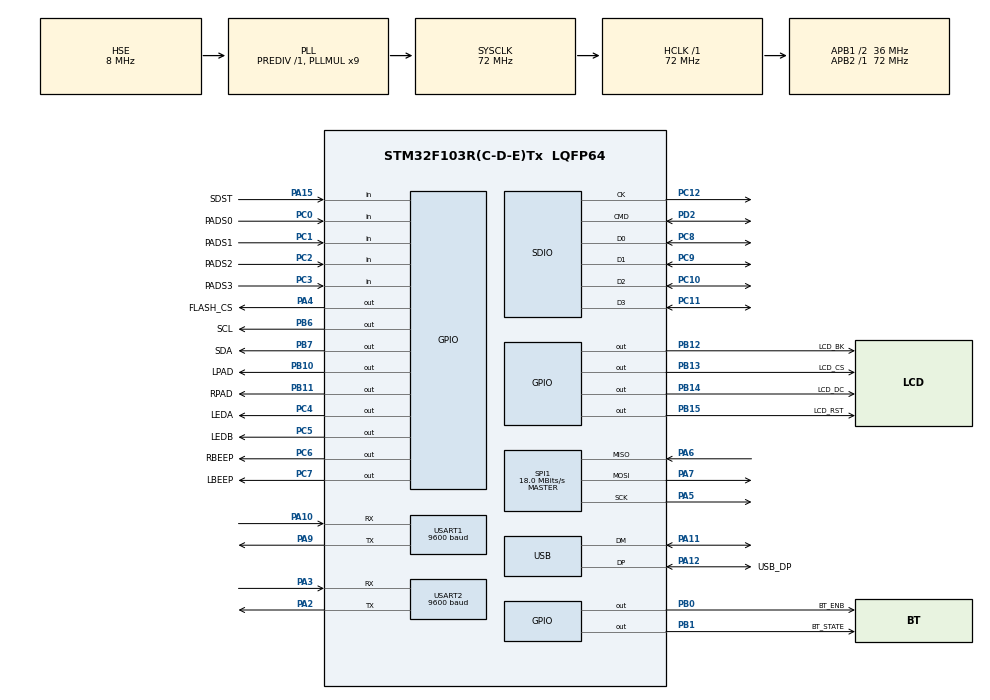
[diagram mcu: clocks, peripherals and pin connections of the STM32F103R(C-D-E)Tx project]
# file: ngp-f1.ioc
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Dma.Request0=SPI1_TX
Dma.Request1=SPI1_RX
Dma.SPI1_RX.1.Direction=DMA_PERIPH_TO_MEMORY
Dma.SPI1_RX.1.Instance=DMA1_Channel2
Dma.SPI1_RX.1.MemDataAlignment=DMA_MDATAALIGN_BYTE
Dma.SPI1_RX.1.MemInc=DMA_MINC_ENABLE
Dma.SPI1_RX.1.Mode=DMA_NORMAL
Dma.SPI1_RX.1.PeriphDataAlignment=DMA_PDATAALIGN_BYTE
Dma.SPI1_RX.1.PeriphInc=DMA_PINC_DISABLE
Dma.SPI1_RX.1.Priority=DMA_PRIORITY_LOW
Dma.SPI1_TX.0.Direction=DMA_MEMORY_TO_PERIPH
Dma.SPI1_TX.0.Instance=DMA1_Channel3
Dma.SPI1_TX.0.MemDataAlignment=DMA_MDATAALIGN_BYTE
Dma.SPI1_TX.0.MemInc=DMA_MINC_ENABLE
Dma.SPI1_TX.0.Mode=DMA_NORMAL
Dma.SPI1_TX.0.PeriphDataAlignment=DMA_PDATAALIGN_BYTE
Dma.SPI1_TX.0.PeriphInc=DMA_PINC_DISABLE
Dma.SPI1_TX.0.Priority=DMA_PRIORITY_LOW
FATFS.BSP.number=1
FATFS0.BSP.STBoard=false
FATFS0.BSP.api=UnknownBspDriver
FATFS0.BSP.i2caddr=0
FATFS0.BSP.i2creg=0
FATFS0.BSP.instance=PA15
FATFS0.BSP.ip=GPIO
FATFS0.BSP.mode=Input
FATFS0.BSP.name=Detect_SDIO
FATFS0.BSP.solution=PA15
Mcu.Family=STM32F1
Mcu.Name=STM32F103R(C-D-E)Tx
Mcu.Package=LQFP64
NVIC.DMA1_Channel2_IRQn=true\:0\:0\:false\:false\:true\:true
NVIC.DMA1_Channel3_IRQn=true\:0\:0\:false\:false\:true\:true
NVIC.PriorityGroup=NVIC_PRIORITYGROUP_4
NVIC.TIM6_IRQn=true\:0\:0\:false\:false\:true\:true
NVIC.TIM7_IRQn=true\:0\:0\:false\:false\:true\:true
NVIC.TIM8_UP_IRQn=true\:0\:0\:false\:false\:true\:true
NVIC.TimeBase=TIM8_UP_IRQn
NVIC.TimeBaseIP=TIM8
NVIC.USB_LP_CAN1_RX0_IRQn=true\:0\:0\:false\:false\:true\:true
PA10.Mode=Asynchronous
PA10.Signal=USART1_RX
PA11.Mode=Device
PA11.Signal=USB_DM
PA12.GPIO_Label=USB_DP
PA12.Mode=Device
PA12.Signal=USB_DP
PA13.Mode=Serial_Wire
PA13.Signal=SYS_JTMS-SWDIO
PA14.Mode=Serial_Wire
PA14.Signal=SYS_JTCK-SWCLK
PA15.GPIO_Label=SDST
PA15.GPIO_PuPd=GPIO_PULLUP
PA15.Signal=GPIO_Input
PA2.Mode=Asynchronous
PA2.Signal=USART2_TX
PA3.Mode=Asynchronous
PA3.Signal=USART2_RX
PA4.GPIO_Label=FLASH_CS
PA4.GPIO_Speed=GPIO_SPEED_FREQ_HIGH
PA4.PinState=GPIO_PIN_SET
PA4.Signal=GPIO_Output
PA5.Mode=Full_Duplex_Master
PA5.Signal=SPI1_SCK
PA6.GPIO_PuPd=GPIO_PULLDOWN
PA6.Mode=Full_Duplex_Master
PA6.Signal=SPI1_MISO
PA7.Mode=Full_Duplex_Master
PA7.Signal=SPI1_MOSI
PA9.Mode=Asynchronous
PA9.Signal=USART1_TX
PB0.GPIO_Label=BT_ENB
PB0.Signal=GPIO_Output
PB1.GPIO_Label=BT_STATE
PB1.Signal=GPIO_Output
PB10.GPIO_Label=LPAD
PB10.Signal=GPIO_Output
PB11.GPIO_Label=RPAD
PB11.Signal=GPIO_Output
PB12.GPIO_Label=LCD_BK
PB12.Signal=GPIO_Output
PB13.GPIO_Label=LCD_CS
PB13.GPIO_Speed=GPIO_SPEED_FREQ_HIGH
PB13.PinState=GPIO_PIN_SET
PB13.Signal=GPIO_Output
PB14.GPIO_Label=LCD_DC
PB14.GPIO_Speed=GPIO_SPEED_FREQ_HIGH
PB14.Signal=GPIO_Output
PB15.GPIO_Label=LCD_RST
PB15.GPIO_Speed=GPIO_SPEED_FREQ_HIGH
PB15.Signal=GPIO_Output
PB6.GPIO_Label=SCL
PB6.GPIO_Speed=GPIO_SPEED_FREQ_HIGH
PB6.Signal=GPIO_Output
PB7.GPIO_Label=SDA
PB7.GPIO_ModeDefaultOutputPP=GPIO_MODE_OUTPUT_OD
PB7.GPIO_Speed=GPIO_SPEED_FREQ_HIGH
PB7.Signal=GPIO_Output
PC0.GPIO_Label=PADS0
PC0.GPIO_PuPd=GPIO_PULLUP
PC0.Signal=GPIO_Input
PC1.GPIO_Label=PADS1
PC1.GPIO_PuPd=GPIO_PULLUP
PC1.Signal=GPIO_Input
PC10.Mode=SD_4_bits_Wide_bus
PC10.Signal=SDIO_D2
PC11.Mode=SD_4_bits_Wide_bus
PC11.Signal=SDIO_D3
PC12.Mode=SD_4_bits_Wide_bus
PC12.Signal=SDIO_CK
PC14-OSC32_IN.Mode=LSE-External-Oscillator
PC14-OSC32_IN.Signal=RCC_OSC32_IN
PC15-OSC32_OUT.Mode=LSE-External-Oscillator
PC15-OSC32_OUT.Signal=RCC_OSC32_OUT
PC2.GPIO_Label=PADS2
PC2.GPIO_PuPd=GPIO_PULLUP
PC2.Signal=GPIO_Input
PC3.GPIO_Label=PADS3
PC3.GPIO_PuPd=GPIO_PULLUP
PC3.Signal=GPIO_Input
PC4.GPIO_Label=LEDA
PC4.GPIO_Speed=GPIO_SPEED_FREQ_HIGH
PC4.Signal=GPIO_Output
PC5.GPIO_Label=LEDB
PC5.GPIO_Speed=GPIO_SPEED_FREQ_HIGH
PC5.Signal=GPIO_Output
PC6.GPIO_Label=RBEEP
PC6.GPIO_Speed=GPIO_SPEED_FREQ_HIGH
PC6.Signal=GPIO_Output
PC7.GPIO_Label=LBEEP
PC7.GPIO_Speed=GPIO_SPEED_FREQ_HIGH
PC7.Signal=GPIO_Output
PC8.Mode=SD_4_bits_Wide_bus
PC8.Signal=SDIO_D0
PC9.Mode=SD_4_bits_Wide_bus
PC9.Signal=SDIO_D1
PD0-OSC_IN.Mode=HSE-External-Oscillator
PD0-OSC_IN.Signal=RCC_OSC_IN
PD1-OSC_OUT.Mode=HSE-External-Oscillator
PD1-OSC_OUT.Signal=RCC_OSC_OUT
PD2.Mode=SD_4_bits_Wide_bus
PD2.Signal=SDIO_CMD
ProjectManager.HeapSize=0x200
ProjectManager.StackSize=0x400
ProjectManager.TargetToolchain=SW4STM32
RCC.AHBFreq_Value=72000000
RCC.APB1CLKDivider=RCC_HCLK_DIV2
RCC.APB1Freq_Value=36000000
RCC.APB1TimFreq_Value=72000000
RCC.APB2Freq_Value=72000000
RCC.APB2TimFreq_Value=72000000
RCC.EnbaleCSS=true
RCC.HCLKFreq_Value=72000000
RCC.PLLMUL=RCC_PLL_MUL9
RCC.PLLSourceVirtual=RCC_PLLSOURCE_HSE
RCC.SYSCLKFreq_VALUE=72000000
RCC.SYSCLKSource=RCC_SYSCLKSOURCE_PLLCLK
RCC.USBFreq_Value=48000000
RCC.USBPrescaler=RCC_USBCLKSOURCE_PLL_DIV1_5
SDIO.ClockDiv=3
SDIO.WideMode=SDIO_BUS_WIDE_4B
SPI1.BaudRatePrescaler=SPI_BAUDRATEPRESCALER_4
SPI1.CLKPolarity=SPI_POLARITY_HIGH
SPI1.CalculateBaudRate=18.0 MBits/s
SPI1.Direction=SPI_DIRECTION_2LINES
SPI1.Mode=SPI_MODE_MASTER
SPI1.VirtualType=VM_MASTER
TIM6.Period=359
TIM6.Prescaler=2
TIM7.Period=35
TIM7.Prescaler=2
USART1.BaudRate=9600
USART1.VirtualMode=VM_ASYNC
USART2.BaudRate=9600
USART2.VirtualMode=VM_ASYNC
USB.low_power_enable=DISABLE
USB.lpm_enable=DISABLE
USB_DEVICE.CLASS_NAME_FS=MSC
USB_DEVICE.CONFIGURATION_STRING_MSC_FS=NGP Config
USB_DEVICE.INTERFACE_STRING_MSC_FS=NGP Interface
USB_DEVICE.MANUFACTURER_STRING=NSDN
USB_DEVICE.PRODUCT_STRING_MSC_FS=NyaGame Portable 32-bit
USB_DEVICE.SERIALNUMBER_STRING_MSC_FS=000000000032
USB_DEVICE.USBD_HandleTypeDef=hUsbDeviceFS
USB_DEVICE.USBD_SELF_POWERED=0
USB_DEVICE.USBD_SUPPORT_USER_STRING=0
USB_DEVICE.VirtualMode=Msc
USB_DEVICE.VirtualModeFS=Msc_FS
VP_FATFS_VS_SDIO.Mode=SDIO
VP_SYS_VS_tim8.Mode=TIM8
VP_TIM6_VS_ClockSourceINT.Mode=Enable_Timer
VP_TIM7_VS_ClockSourceINT.Mode=Enable_Timer
VP_USB_DEVICE_VS_USB_DEVICE_MSC_FS.Mode=MSC_FS
board=ngp-f1

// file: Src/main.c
/**
  ******************************************************************************
  * @file           : main.c
  * @brief          : Main program body
  ******************************************************************************
  * This notice applies to any and all portions of this file
  * that are not between comment pairs USER CODE BEGIN and
  * USER CODE END. Other portions of this file, whether
  * inserted by the user or by software development tools
  * are owned by their respective copyright owners.
  *
  * Copyright (c) 2018 STMicroelectronics International N.V.
  * All rights reserved.
  *
  * Redistribution and use in source and binary forms, with or without
  * modification, are permitted, provided that the following conditions are met:
  *
  * 1. Redistribution of source code must retain the above copyright notice,
  *    this list of conditions and the following disclaimer.
  * 2. Redistributions in binary form must reproduce the above copyright notice,
  *    this list of conditions and the following disclaimer in the documentation
  *    and/or other materials provided with the distribution.
  * 3. Neither the name of STMicroelectronics nor the names of other
  *    contributors to this software may be used to endorse or promote products
  *    derived from this software without specific written permission.
  * 4. This software, including modifications and/or derivative works of this
  *    software, must execute solely and exclusively on microcontroller or
  *    microprocessor devices manufactured by or for STMicroelectronics.
  * 5. Redistribution and use of this software other than as permitted under
  *    this license is void and will automatically terminate your rights under
  *    this license.
  *
  * THIS SOFTWARE IS PROVIDED BY STMICROELECTRONICS AND CONTRIBUTORS "AS IS"
  * AND ANY EXPRESS, IMPLIED OR STATUTORY WARRANTIES, INCLUDING, BUT NOT
  * LIMITED TO, THE IMPLIED WARRANTIES OF MERCHANTABILITY, FITNESS FOR A
  * PARTICULAR PURPOSE AND NON-INFRINGEMENT OF THIRD PARTY INTELLECTUAL PROPERTY
  * RIGHTS ARE DISCLAIMED TO THE FULLEST EXTENT PERMITTED BY LAW. IN NO EVENT
  * SHALL STMICROELECTRONICS OR CONTRIBUTORS BE LIABLE FOR ANY DIRECT, INDIRECT,
  * INCIDENTAL, SPECIAL, EXEMPLARY, OR CONSEQUENTIAL DAMAGES (INCLUDING, BUT NOT
  * LIMITED TO, PROCUREMENT OF SUBSTITUTE GOODS OR SERVICES; LOSS OF USE, DATA,
  * OR PROFITS; OR BUSINESS INTERRUPTION) HOWEVER CAUSED AND ON ANY THEORY OF
  * LIABILITY, WHETHER IN CONTRACT, STRICT LIABILITY, OR TORT (INCLUDING
  * NEGLIGENCE OR OTHERWISE) ARISING IN ANY WAY OUT OF THE USE OF THIS SOFTWARE,
  * EVEN IF ADVISED OF THE POSSIBILITY OF SUCH DAMAGE.
  *
  ******************************************************************************
  */
#include "main.h"
#include "stm32f1xx_hal.h"
#include "fatfs.h"
#include "usb_device.h"

/* USER CODE BEGIN Includes */
#include "OLED.h"
#include "LCD.h"
#include "Keypad.h"
#include "Beeper.h"
#include "Flash.h"
/* USER CODE END Includes */

SD_HandleTypeDef hsd;

SPI_HandleTypeDef hspi1;
DMA_HandleTypeDef hdma_spi1_tx;
DMA_HandleTypeDef hdma_spi1_rx;

TIM_HandleTypeDef htim6;
TIM_HandleTypeDef htim7;

UART_HandleTypeDef huart1;
UART_HandleTypeDef huart2;

/* USER CODE BEGIN PV */
	/* Private variables ---------------------------------------------------------*/
	LCD* lcd;
	Flash* flash;
	static uint8_t sdOK = 0;
	static uint8_t menuIndex = 0;
	HAL_SD_CardInfoTypeDef SDCardInfo;
/* USER CODE END PV */

void SystemClock_Config(void);
static void MX_GPIO_Init(void);
static void MX_DMA_Init(void);
static void MX_SDIO_SD_Init(void);
static void MX_USART2_UART_Init(void);
static void MX_SPI1_Init(void);
static void MX_USART1_UART_Init(void);
static void MX_TIM6_Init(void);
static void MX_TIM7_Init(void);

/* USER CODE BEGIN PFP */
	/* Private function prototypes -----------------------------------------------*/

/** STG Begin *********************************************************************/

#define STG_BACK 1
#define STG_MAIN 2
#define STG_COLORB 0x000000

#define RANGE_X1 4
#define RANGE_Y1 4
#define RANGE_X2 92
#define RANGE_Y2 123

void onInitPlayer(void);
void onUpdatePlayer(void);
struct Player {
	uint32_t color;
	uint8_t size;
	float x;
	float y;
	float prevX;
	float prevY;
	void (*onInit)();
	void (*onUpdate)();
} player = { 0xFF9800, 1,
	(RANGE_X2 + RANGE_X1) / 2, 108,
	(RANGE_X2 + RANGE_X1) / 2, 108,
	&onInitPlayer,
	&onUpdatePlayer
};
void onInitPlayer() {
	player.x = (RANGE_X2 + RANGE_X1) / 2;
	player.y = 108;
}
void onUpdatePlayer() {
	player.prevX = player.x; player.prevY = player.y;
	if (checkKey(LPAD_LEFT)) { player.x -= 0.4; }
	if (checkKey(LPAD_RIGHT)) { player.x += 0.4; }
	if (checkKey(LPAD_UP)) { player.y -= 0.4; }
	if (checkKey(LPAD_DOWN)) { player.y += 0.4; }

	if (player.x > RANGE_X2 - player.size) player.x = RANGE_X2 - player.size;
	if (player.x < RANGE_X1 + player.size) player.x = RANGE_X1 + player.size;
	if (player.y > RANGE_Y2 - player.size) player.y = RANGE_Y2 - player.size;
	if (player.y < RANGE_Y1 + player.size) player.y = RANGE_Y1 + player.size;

	if ((char) player.x != (char) player.prevX || (char) player.y != (char) player.prevY) {
		lcd->colorf(lcd->p, STG_COLORB);
		lcd->rect(lcd->p,
			player.prevX - player.size, player.prevY - player.size,
			player.prevX + player.size, player.prevY + player.size,
			1
		);
	}
	lcd->colorf(lcd->p, player.color);
	lcd->rect(lcd->p,
		player.x - player.size, player.y - player.size,
		player.x + player.size, player.y + player.size,
		1
	);
}

void STG(uint8_t type) {
	if (type == STG_BACK) {
		lcd->colorf(lcd->p, 0xFFFFFF);
		lcd->rect(lcd->p, RANGE_X1 - 4, RANGE_Y1 - 4, RANGE_X2 + 4, RANGE_Y2 + 4, 1);
		lcd->colorf(lcd->p, STG_COLORB);
		lcd->rect(lcd->p, RANGE_X1 - 2, RANGE_Y1 - 2, RANGE_X2 + 2, RANGE_Y2 + 2, 1);
		lcd->colorf(lcd->p, 0xFFFFFF);
		lcd->rect(lcd->p, RANGE_X1 - 1, RANGE_Y1 - 1, RANGE_X2 + 1, RANGE_Y2 + 1, 0);
		lcd->colorf(lcd->p, 0x7986CB);
		lcd->font(lcd->p, Big);
		lcd->draw(lcd->p, RANGE_X2 + 12, RANGE_Y1 + 4, 'T');
		lcd->draw(lcd->p, RANGE_X2 + 12 + 8, RANGE_Y1 + 4, 'H');
		lcd->font(lcd->p, Small);
		lcd->colorf(lcd->p, 0xFFFFFF);

		player.onInit();
	} else if (type == STG_MAIN) {
		player.onUpdate();
	}
}

/** STG End ***********************************************************************/

/* USER CODE END PFP */

/* USER CODE BEGIN 0 */
void checkSD() {
	if (HAL_GPIO_ReadPin(SDST_GPIO_Port, SDST_Pin) == GPIO_PIN_RESET && sdOK == 0) {
		HAL_SD_Init(&hsd);
		HAL_SD_GetCardInfo(&hsd, &SDCardInfo);
		sdOK = 1;
	} else if (HAL_GPIO_ReadPin(SDST_GPIO_Port, SDST_Pin) == GPIO_PIN_SET && sdOK == 1) {
		HAL_SD_DeInit(&hsd);
		sdOK = 0;
	}
	if (sdOK == 1) {
		lcd->colorb(lcd->p, 0x66CCFF);
		lcd->colorf(lcd->p, 0x000000);
		lcd->print(lcd->p, 113, 118, "SD");
		lcd->colorf(lcd->p, 0x66CCFF);
		lcd->rect(lcd->p, 113, 117, 125, 125, 0);
		lcd->colorb(lcd->p, 0x000000);
		lcd->colorf(lcd->p, 0xFFFFFF);
	} else {
		lcd->colorf(lcd->p, 0x000000);
		lcd->rect(lcd->p, 113, 117, 125, 125, 1);
		lcd->colorf(lcd->p, 0xFFFFFF);
	}
}
/* USER CODE END 0 */

int main(void)
{

  /* MCU Configuration----------------------------------------------------------*/

  /* Reset of all peripherals, Initializes the Flash interface and the Systick. */
  HAL_Init();

  /* Configure the system clock */
  SystemClock_Config();

  /* Initialize all configured peripherals */
  MX_GPIO_Init();
  MX_DMA_Init();
  MX_USB_DEVICE_Init();
  MX_SDIO_SD_Init();
  MX_USART2_UART_Init();
  MX_FATFS_Init();
  MX_SPI1_Init();
  MX_USART1_UART_Init();
  MX_TIM6_Init();
  MX_TIM7_Init();
  /* USER CODE BEGIN 2 */
	if (HAL_GPIO_ReadPin(SDST_GPIO_Port, SDST_Pin) == GPIO_PIN_RESET && sdOK == 0) {
		HAL_SD_Init(&hsd);
		HAL_SD_GetCardInfo(&hsd, &SDCardInfo);
		sdOK = 1;
	} else if (HAL_GPIO_ReadPin(SDST_GPIO_Port, SDST_Pin) == GPIO_PIN_SET && sdOK == 1) {
		HAL_SD_DeInit(&hsd);
		sdOK = 0;
	}

	HAL_Delay(500);

	flash = FlashInit(&hspi1,
			FLASH_CS_GPIO_Port, FLASH_CS_Pin, W25Q64);

	lcd = LCDInit(&hspi1,
			LCD_DC_GPIO_Port, LCD_DC_Pin,
			LCD_CS_GPIO_Port, LCD_CS_Pin,
			LCD_RST_GPIO_Port, LCD_RST_Pin,
			LCD_BK_GPIO_Port, LCD_BK_Pin);

	lcd->reset(lcd->p);

	lcd->init(lcd->p);
	lcd->colorb(lcd->p, 0xFFFFFF);
	lcd->colorf(lcd->p, 0x000000);
	lcd->clear(lcd->p);
	lcd->bitmapsc(lcd->p, 63, 63, 64, 64, __NYAGAME_LOGO_);
	HAL_Delay(2000);
	lcd->colorb(lcd->p, 0x000000);
	lcd->colorf(lcd->p, 0xFFFFFF);
	lcd->clear(lcd->p);

	HAL_GPIO_WritePin(LEDA_GPIO_Port, LEDA_Pin, GPIO_PIN_RESET);
	HAL_GPIO_WritePin(LEDB_GPIO_Port, LEDB_Pin, GPIO_PIN_SET);

  /* USER CODE END 2 */

  /* Infinite loop */
  /* USER CODE BEGIN WHILE */
	while (1) {

		if (menuIndex < 10) {
			/* MENU BUILD BEGIN */
			lcd->colorb(lcd->p, 0x000000);
			lcd->colorf(lcd->p, 0xFF9800);
			lcd->printfc(lcd->p, 8, "MENU");
			lcd->colorb(lcd->p, 0x000000);
			lcd->colorf(lcd->p, 0xFFFFFF);
			lcd->printfc(lcd->p, 24, "W25Q64 Test");
			lcd->printfc(lcd->p, 32, "STG Sample");
			lcd->printfc(lcd->p, 40, "Flash Test");
			lcd->printfc(lcd->p, 48, "NSDN-Beeper");
			lcd->printfc(lcd->p, 56, "About this NGP");

			lcd->draw(lcd->p, 10, (menuIndex + 2) * 8, ' ');
			lcd->draw(lcd->p, 10, (menuIndex + 3) * 8, '>');
			lcd->draw(lcd->p, 10, (menuIndex + 4) * 8, ' ');
			lcd->draw(lcd->p, 112, (menuIndex + 2) * 8, ' ');
			lcd->draw(lcd->p, 112, (menuIndex + 3) * 8, '<');
			lcd->draw(lcd->p, 112, (menuIndex + 4) * 8, ' ');

			if (waitKeyUp(LPAD_UP)) menuIndex = ((menuIndex > 0) ? menuIndex - 1 : 0);
			if (waitKeyUp(LPAD_DOWN)) menuIndex = ((menuIndex < 4) ? menuIndex + 1 : 4);
			if (waitKeyUp(RPAD_UP)) {
				menuIndex += 10;
				lcd->clear(lcd->p);

				switch (menuIndex) {
					case 10:
						break;
					case 11:
						STG(STG_BACK);
						break;
					case 12:
						break;
					case 13:
						HAL_TIM_Base_Start_IT(&htim6);
						setVolume(2);
						break;
					case 14:
						lcd->colorb(lcd->p, 0xFFFFFF);
						lcd->colorf(lcd->p, 0x000000);
						lcd->clear(lcd->p);
						break;
					default:
						break;
				}
			}
		} else if (menuIndex < 20) {
			switch (menuIndex) {
				case 10:
					lcd->colorb(lcd->p, 0x000000);
					lcd->colorf(lcd->p, 0xFF9800);
					lcd->printfc(lcd->p, 8, "W25Q64 Test");
					lcd->colorb(lcd->p, 0x000000);
					lcd->colorf(lcd->p, 0xFFFFFF);
					lcd->printfc(lcd->p, 48, "Init W25Q64...");
					uint8_t result, manuf, buf;
					result = flash->begin(flash->p);
					manuf = flash->readManufacturer(flash->p);
					flash->read(flash->p, 0x00000000, &buf, 1);
					flash->end(flash->p);
					lcd->printfc(lcd->p, 64, "Result: %X", result);
					lcd->printfc(lcd->p, 72, "Manuf: %X", manuf);
					lcd->printfc(lcd->p, 80, "Buf: %X", buf);
					break;
				case 11:
					STG(STG_MAIN);
					break;
				case 12:
					lcd->colorb(lcd->p, 0x000000);
					lcd->colorf(lcd->p, 0xFF9800);
					lcd->printfc(lcd->p, 8, "Flash Test");
					lcd->colorb(lcd->p, 0x000000);
					lcd->colorf(lcd->p, 0x3F51B5);
					lcd->printfc(lcd->p, 24, "Flashing: 0x3F51B5");
					lcd->rect(lcd->p, 16, 48, 112, 112, 1);
					lcd->colorf(lcd->p, 0xB10000);
					lcd->printfc(lcd->p, 24, "Flashing: 0xB10000");
					lcd->rect(lcd->p, 16, 48, 112, 112, 1);
					lcd->colorf(lcd->p, 0xFFFFFF);
					break;
				case 13:
					lcd->colorb(lcd->p, 0x000000);
					lcd->colorf(lcd->p, 0xFF9800);
					lcd->printfc(lcd->p, 8, "NSDN-Beeper");
					lcd->colorb(lcd->p, 0x000000);
					lcd->colorf(lcd->p, 0xFFFFFF);
					lcd->printfc(lcd->p, 32, "NOW Playing...");
					lcd->printfc(lcd->p, 48, "Remilia");
					lcd->printfc(lcd->p, 56, "Scarlet");
					playMusicWithSpace(SYMBOL, MID_remilia, MID_remilia_LENGTH, 233, 16, 1);
					break;
				case 14:
					lcd->colorb(lcd->p, 0xFFFFFF);
					lcd->colorf(lcd->p, 0x000000);
					lcd->bitmapsc(lcd->p, 63, 48, 64, 64, __NYAGAME_LOGO_);
					lcd->printfc(lcd->p, 86, "NyaGame Portable");
					lcd->printfc(lcd->p, 98, "dev161218");
					lcd->colorb(lcd->p, 0x000000);
					lcd->colorf(lcd->p, 0xFFFFFF);
					break;
				default:
					break;
			}

			if (menuIndex == 11) {
				if (waitKeyUp(RPAD_DOWN)) {
					menuIndex -= 10;
					lcd->clear(lcd->p);
				}
			}
			if (menuIndex != 13 && menuIndex != 11) {
				if (waitKeyUp(RPAD_RIGHT)) {
					menuIndex -= 10;
					lcd->clear(lcd->p);

					switch (menuIndex) {
						case 10:
							break;
						case 11:
							break;
						case 12:
							break;
						case 13:
							HAL_TIM_Base_Start_IT(&htim6);
							setVolume(2);
							break;
						case 14:
							break;
						default:
							break;
					}
				}
			}
		} else {
			menuIndex = 0;
			lcd->clear(lcd->p);
		}
		/* MENU BUILD END */

  /* USER CODE END WHILE */

  /* USER CODE BEGIN 3 */
		HAL_GPIO_TogglePin(LEDA_GPIO_Port, LEDA_Pin);
		HAL_GPIO_TogglePin(LEDB_GPIO_Port, LEDB_Pin);
		checkSD();
	}
  /* USER CODE END 3 */

}

void SystemClock_Config(void)
{

  RCC_OscInitTypeDef RCC_OscInitStruct;
  RCC_ClkInitTypeDef RCC_ClkInitStruct;
  RCC_PeriphCLKInitTypeDef PeriphClkInit;

    /**Initializes the CPU, AHB and APB busses clocks
    */
  RCC_OscInitStruct.OscillatorType = RCC_OSCILLATORTYPE_HSE;
  RCC_OscInitStruct.HSEState = RCC_HSE_ON;
  RCC_OscInitStruct.HSEPredivValue = RCC_HSE_PREDIV_DIV1;
  RCC_OscInitStruct.HSIState = RCC_HSI_ON;
  RCC_OscInitStruct.PLL.PLLState = RCC_PLL_ON;
  RCC_OscInitStruct.PLL.PLLSource = RCC_PLLSOURCE_HSE;
  RCC_OscInitStruct.PLL.PLLMUL = RCC_PLL_MUL9;
  if (HAL_RCC_OscConfig(&RCC_OscInitStruct) != HAL_OK)
  {
    _Error_Handler(__FILE__, __LINE__);
  }

    /**Initializes the CPU, AHB and APB busses clocks
    */
  RCC_ClkInitStruct.ClockType = RCC_CLOCKTYPE_HCLK|RCC_CLOCKTYPE_SYSCLK
                              |RCC_CLOCKTYPE_PCLK1|RCC_CLOCKTYPE_PCLK2;
  RCC_ClkInitStruct.SYSCLKSource = RCC_SYSCLKSOURCE_PLLCLK;
  RCC_ClkInitStruct.AHBCLKDivider = RCC_SYSCLK_DIV1;
  RCC_ClkInitStruct.APB1CLKDivider = RCC_HCLK_DIV2;
  RCC_ClkInitStruct.APB2CLKDivider = RCC_HCLK_DIV1;

  if (HAL_RCC_ClockConfig(&RCC_ClkInitStruct, FLASH_LATENCY_2) != HAL_OK)
  {
    _Error_Handler(__FILE__, __LINE__);
  }

  PeriphClkInit.PeriphClockSelection = RCC_PERIPHCLK_USB;
  PeriphClkInit.UsbClockSelection = RCC_USBCLKSOURCE_PLL_DIV1_5;
  if (HAL_RCCEx_PeriphCLKConfig(&PeriphClkInit) != HAL_OK)
  {
    _Error_Handler(__FILE__, __LINE__);
  }

    /**Enables the Clock Security System
    */
  HAL_RCC_EnableCSS();

    /**Configure the Systick interrupt time
    */
  HAL_SYSTICK_Config(HAL_RCC_GetHCLKFreq()/1000);

    /**Configure the Systick
    */
  HAL_SYSTICK_CLKSourceConfig(SYSTICK_CLKSOURCE_HCLK);

  /* SysTick_IRQn interrupt configuration */
  HAL_NVIC_SetPriority(SysTick_IRQn, 0, 0);
}

/* SDIO init function */
static void MX_SDIO_SD_Init(void)
{

  hsd.Instance = SDIO;
  hsd.Init.ClockEdge = SDIO_CLOCK_EDGE_RISING;
  hsd.Init.ClockBypass = SDIO_CLOCK_BYPASS_DISABLE;
  hsd.Init.ClockPowerSave = SDIO_CLOCK_POWER_SAVE_DISABLE;
  hsd.Init.BusWide = SDIO_BUS_WIDE_1B;
  hsd.Init.HardwareFlowControl = SDIO_HARDWARE_FLOW_CONTROL_DISABLE;
  hsd.Init.ClockDiv = 3;

}

/* SPI1 init function */
static void MX_SPI1_Init(void)
{

  /* SPI1 parameter configuration*/
  hspi1.Instance = SPI1;
  hspi1.Init.Mode = SPI_MODE_MASTER;
  hspi1.Init.Direction = SPI_DIRECTION_2LINES;
  hspi1.Init.DataSize = SPI_DATASIZE_8BIT;
  hspi1.Init.CLKPolarity = SPI_POLARITY_HIGH;
  hspi1.Init.CLKPhase = SPI_PHASE_1EDGE;
  hspi1.Init.NSS = SPI_NSS_SOFT;
  hspi1.Init.BaudRatePrescaler = SPI_BAUDRATEPRESCALER_4;
  hspi1.Init.FirstBit = SPI_FIRSTBIT_MSB;
  hspi1.Init.TIMode = SPI_TIMODE_DISABLE;
  hspi1.Init.CRCCalculation = SPI_CRCCALCULATION_DISABLE;
  hspi1.Init.CRCPolynomial = 10;
  if (HAL_SPI_Init(&hspi1) != HAL_OK)
  {
    _Error_Handler(__FILE__, __LINE__);
  }

}

/* TIM6 init function */
static void MX_TIM6_Init(void)
{

  TIM_MasterConfigTypeDef sMasterConfig;

  htim6.Instance = TIM6;
  htim6.Init.Prescaler = 2;
  htim6.Init.CounterMode = TIM_COUNTERMODE_UP;
  htim6.Init.Period = 359;
  htim6.Init.AutoReloadPreload = TIM_AUTORELOAD_PRELOAD_DISABLE;
  if (HAL_TIM_Base_Init(&htim6) != HAL_OK)
  {
    _Error_Handler(__FILE__, __LINE__);
  }

  sMasterConfig.MasterOutputTrigger = TIM_TRGO_RESET;
  sMasterConfig.MasterSlaveMode = TIM_MASTERSLAVEMODE_DISABLE;
  if (HAL_TIMEx_MasterConfigSynchronization(&htim6, &sMasterConfig) != HAL_OK)
  {
    _Error_Handler(__FILE__, __LINE__);
  }

}

/* TIM7 init function */
static void MX_TIM7_Init(void)
{

  TIM_MasterConfigTypeDef sMasterConfig;

  htim7.Instance = TIM7;
  htim7.Init.Prescaler = 2;
  htim7.Init.CounterMode = TIM_COUNTERMODE_UP;
  htim7.Init.Period = 35;
  htim7.Init.AutoReloadPreload = TIM_AUTORELOAD_PRELOAD_DISABLE;
  if (HAL_TIM_Base_Init(&htim7) != HAL_OK)
  {
    _Error_Handler(__FILE__, __LINE__);
  }

  sMasterConfig.MasterOutputTrigger = TIM_TRGO_RESET;
  sMasterConfig.MasterSlaveMode = TIM_MASTERSLAVEMODE_DISABLE;
  if (HAL_TIMEx_MasterConfigSynchronization(&htim7, &sMasterConfig) != HAL_OK)
  {
    _Error_Handler(__FILE__, __LINE__);
  }

}

/* USART1 init function */
static void MX_USART1_UART_Init(void)
{

  huart1.Instance = USART1;
  huart1.Init.BaudRate = 9600;
  huart1.Init.WordLength = UART_WORDLENGTH_8B;
  huart1.Init.StopBits = UART_STOPBITS_1;
  huart1.Init.Parity = UART_PARITY_NONE;
  huart1.Init.Mode = UART_MODE_TX_RX;
  huart1.Init.HwFlowCtl = UART_HWCONTROL_NONE;
  huart1.Init.OverSampling = UART_OVERSAMPLING_16;
  if (HAL_UART_Init(&huart1) != HAL_OK)
  {
    _Error_Handler(__FILE__, __LINE__);
  }

}

/* USART2 init function */
static void MX_USART2_UART_Init(void)
{

  huart2.Instance = USART2;
  huart2.Init.BaudRate = 9600;
  huart2.Init.WordLength = UART_WORDLENGTH_8B;
  huart2.Init.StopBits = UART_STOPBITS_1;
  huart2.Init.Parity = UART_PARITY_NONE;
  huart2.Init.Mode = UART_MODE_TX_RX;
  huart2.Init.HwFlowCtl = UART_HWCONTROL_NONE;
  huart2.Init.OverSampling = UART_OVERSAMPLING_16;
  if (HAL_UART_Init(&huart2) != HAL_OK)
  {
    _Error_Handler(__FILE__, __LINE__);
  }

}

static void MX_DMA_Init(void)
{
  /* DMA controller clock enable */
  __HAL_RCC_DMA1_CLK_ENABLE();

  /* DMA interrupt init */
  /* DMA1_Channel2_IRQn interrupt configuration */
  HAL_NVIC_SetPriority(DMA1_Channel2_IRQn, 0, 0);
  HAL_NVIC_EnableIRQ(DMA1_Channel2_IRQn);
  /* DMA1_Channel3_IRQn interrupt configuration */
  HAL_NVIC_SetPriority(DMA1_Channel3_IRQn, 0, 0);
  HAL_NVIC_EnableIRQ(DMA1_Channel3_IRQn);

}

/** Configure pins as
        * Analog
        * Input
        * Output
        * EVENT_OUT
        * EXTI
*/
static void MX_GPIO_Init(void)
{

  GPIO_InitTypeDef GPIO_InitStruct;

  /* GPIO Ports Clock Enable */
  __HAL_RCC_GPIOC_CLK_ENABLE();
  __HAL_RCC_GPIOD_CLK_ENABLE();
  __HAL_RCC_GPIOA_CLK_ENABLE();
  __HAL_RCC_GPIOB_CLK_ENABLE();

  /*Configure GPIO pin Output Level */
  HAL_GPIO_WritePin(FLASH_CS_GPIO_Port, FLASH_CS_Pin, GPIO_PIN_SET);

  /*Configure GPIO pin Output Level */
  HAL_GPIO_WritePin(GPIOC, LEDA_Pin|LEDB_Pin|RBEEP_Pin|LBEEP_Pin, GPIO_PIN_RESET);

  /*Configure GPIO pin Output Level */
  HAL_GPIO_WritePin(GPIOB, BT_ENB_Pin|BT_STATE_Pin|LPAD_Pin|RPAD_Pin
                          |LCD_BK_Pin|LCD_DC_Pin|LCD_RST_Pin|SCL_Pin
                          |SDA_Pin, GPIO_PIN_RESET);

  /*Configure GPIO pin Output Level */
  HAL_GPIO_WritePin(LCD_CS_GPIO_Port, LCD_CS_Pin, GPIO_PIN_SET);

  /*Configure GPIO pins : PADS0_Pin PADS1_Pin PADS2_Pin PADS3_Pin */
  GPIO_InitStruct.Pin = PADS0_Pin|PADS1_Pin|PADS2_Pin|PADS3_Pin;
  GPIO_InitStruct.Mode = GPIO_MODE_INPUT;
  GPIO_InitStruct.Pull = GPIO_PULLUP;
  HAL_GPIO_Init(GPIOC, &GPIO_InitStruct);

  /*Configure GPIO pin : FLASH_CS_Pin */
  GPIO_InitStruct.Pin = FLASH_CS_Pin;
  GPIO_InitStruct.Mode = GPIO_MODE_OUTPUT_PP;
  GPIO_InitStruct.Speed = GPIO_SPEED_FREQ_HIGH;
  HAL_GPIO_Init(FLASH_CS_GPIO_Port, &GPIO_InitStruct);

  /*Configure GPIO pins : LEDA_Pin LEDB_Pin RBEEP_Pin LBEEP_Pin */
  GPIO_InitStruct.Pin = LEDA_Pin|LEDB_Pin|RBEEP_Pin|LBEEP_Pin;
  GPIO_InitStruct.Mode = GPIO_MODE_OUTPUT_PP;
  GPIO_InitStruct.Speed = GPIO_SPEED_FREQ_HIGH;
  HAL_GPIO_Init(GPIOC, &GPIO_InitStruct);

  /*Configure GPIO pins : BT_ENB_Pin BT_STATE_Pin LPAD_Pin RPAD_Pin
                           LCD_BK_Pin */
  GPIO_InitStruct.Pin = BT_ENB_Pin|BT_STATE_Pin|LPAD_Pin|RPAD_Pin
                          |LCD_BK_Pin;
  GPIO_InitStruct.Mode = GPIO_MODE_OUTPUT_PP;
  GPIO_InitStruct.Speed = GPIO_SPEED_FREQ_LOW;
  HAL_GPIO_Init(GPIOB, &GPIO_InitStruct);

  /*Configure GPIO pins : LCD_CS_Pin LCD_DC_Pin LCD_RST_Pin SCL_Pin */
  GPIO_InitStruct.Pin = LCD_CS_Pin|LCD_DC_Pin|LCD_RST_Pin|SCL_Pin;
  GPIO_InitStruct.Mode = GPIO_MODE_OUTPUT_PP;
  GPIO_InitStruct.Speed = GPIO_SPEED_FREQ_HIGH;
  HAL_GPIO_Init(GPIOB, &GPIO_InitStruct);

  /*Configure GPIO pin : SDST_Pin */
  GPIO_InitStruct.Pin = SDST_Pin;
  GPIO_InitStruct.Mode = GPIO_MODE_INPUT;
  GPIO_InitStruct.Pull = GPIO_PULLUP;
  HAL_GPIO_Init(SDST_GPIO_Port, &GPIO_InitStruct);

  /*Configure GPIO pin : SDA_Pin */
  GPIO_InitStruct.Pin = SDA_Pin;
  GPIO_InitStruct.Mode = GPIO_MODE_OUTPUT_OD;
  GPIO_InitStruct.Speed = GPIO_SPEED_FREQ_HIGH;
  HAL_GPIO_Init(SDA_GPIO_Port, &GPIO_InitStruct);

}

void HAL_TIM_PeriodElapsedCallback(TIM_HandleTypeDef *htim)
{
  if (htim->Instance == TIM8) {
    HAL_IncTick();
  }
  /* USER CODE BEGIN Callback 1 */
	if (htim->Instance == TIM7) {
		//incTime();
	}

	if (htim->Instance == TIM6) {
		if (menuIndex == 13) {
			if (waitKeyUp(RPAD_RIGHT)) {
				jumpOut();
				menuIndex -= 10;
				lcd->clear(lcd->p);
				HAL_TIM_Base_Stop_IT(&htim6);
				HAL_GPIO_WritePin(LBEEP_GPIO_Port, LBEEP_Pin, GPIO_PIN_RESET);
				HAL_GPIO_WritePin(RBEEP_GPIO_Port, RBEEP_Pin, GPIO_PIN_RESET);
			}
		}
		beeperInerrupt();
	}
  /* USER CODE END Callback 1 */
}

void _Error_Handler(char *file, int line)
{
  while(1)
  {
  }
}

/************************ (C) COPYRIGHT STMicroelectronics *****END OF FILE****/
